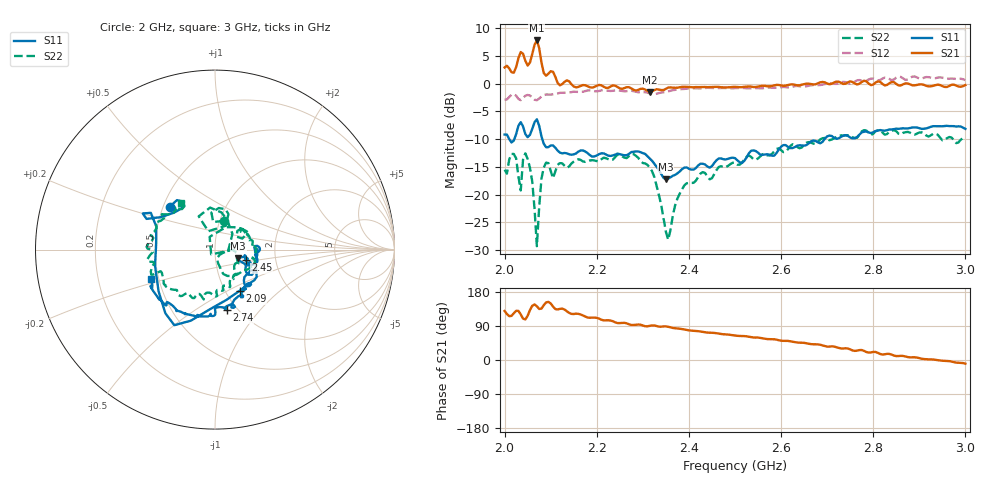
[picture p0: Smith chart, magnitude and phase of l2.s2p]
# Hz S DB R 50
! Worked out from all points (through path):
!   201 points, 2 GHz to 3 GHz, reference 50 ohm
!   highest |S21| = 7.81 dB at 2.07 GHz (marker M1); lowest = -1.5 dB at 2.315 GHz (marker M2)
!   lowest |S11| = -17.2 dB at 2.35 GHz (marker M3), VSWR 1.32, Z = 64.4 - j6.4 ohm
!   |S11| at or under -10 dB: 2.01 GHz to 2.021 GHz (10.91 MHz wide, 0.541 % of centre); 2.082 GHz to 2.694 GHz (612.5 MHz wide, 25.6 % of centre)
!   |S22| runs from -29.3 to -8.4 dB; largest |S21 - S12| = 1.8
!   S11 on the Smith chart (normalised r, x): 2 GHz: 0.54, +0.29; 2.09 GHz: 1.16, -0.58; 2.45 GHz: 1.40, -0.17; 2.74 GHz: 0.89, -0.68; 3 GHz: 0.45, -0.18
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2e9  -9.18 136.6  2.94 129.4  -2.88 130.3  -15.52 72.8
2.015e9  -10.60 128.6  2.08 116.4  -1.98 133.6  -12.66 84.7
2.03e9  -7.58 155.9  4.62 129.5  -2.74 127.2  -16.75 65.9
2.035e9  -6.94 153.4  5.72 120.4  -2.97 130.2  -19.25 110.1
2.04e9  -7.70 150.2  5.41 109.2  -2.57 131.8  -13.70 116.1
2.045e9  -9.08 158.5  4.15 106.9  -2.17 130.7  -12.56 96.6
2.06e9  -8.16 -143.5  5.37 143.1  -2.48 121.2  -17.66 42.1
2.07e9  -6.41 -118.3  7.81 141.9  -2.98 120.3  -29.31 -128.5
2.075e9  -7.57 -108.8  6.45 134.7  -2.68 121.1  -22.26 112.8
2.08e9  -9.51 -95.1  3.83 135.6  -2.29 120.4  -17.12 63.9
2.09e9  -11.46 -59.2  1.45 151.8  -1.94 116.9  -14.24 35.1
2.17e9  -12.04 1.9  -0.24 117.5  -1.44 108.2  -14.01 23.2
2.315e9  -13.47 -24.8  -1.46 90.0  -1.74 87.2  -15.14 -56.8
2.335e9  -15.58 -25.2  -1.07 88.1  -1.68 88.6  -20.13 -74.3
2.35e9  -17.23 -20.7  -0.93 88.7  -1.50 87.8  -26.71 -71.7
2.39e9  -15.15 -13.0  -0.54 80.6  -0.94 81.3  -18.34 -7.6
2.45e9  -14.86 -19.4  -0.60 71.8  -0.78 71.9  -17.05 -40.6
2.5e9  -13.43 -21.9  -0.56 64.6  -0.79 64.9  -14.27 -58.2
2.67e9  -10.25 -60.0  -0.13 41.5  -0.25 45.6  -10.81 -120.1
2.74e9  -9.29 -79.0  0.01 31.0  0.29 35.0  -9.29 -145.3
2.835e9  -8.26 -104.6  0.09 16.0  0.86 18.0  -8.69 179.4
3e9  -8.15 -155.3  -0.25 -9.7  0.66 -15.4  -9.86 126.7
